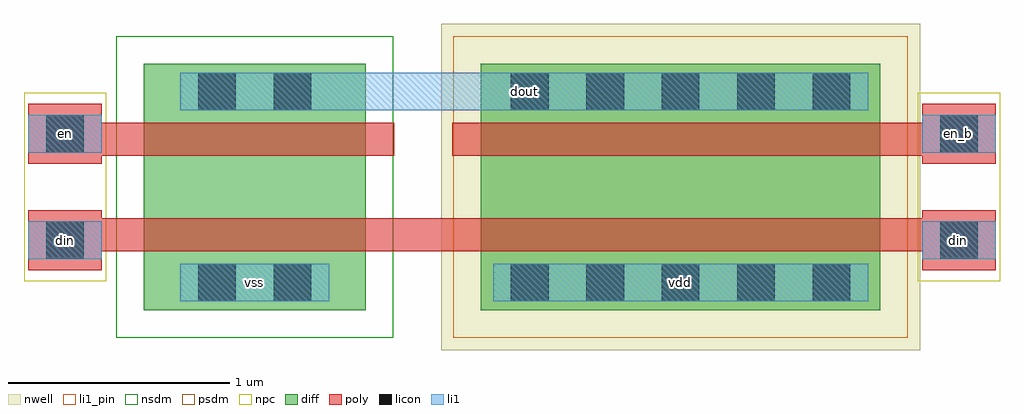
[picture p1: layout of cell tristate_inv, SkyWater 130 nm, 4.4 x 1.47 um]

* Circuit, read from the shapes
.subckt tristate_inv din dout en en_b vdd vss
XM1 n1 din vss VSUBS sky130_fd_pr__nfet_01v8 w=1 l=0.15
XM2 dout en n1 VSUBS sky130_fd_pr__nfet_01v8 w=1 l=0.15
XM3 n2 din vdd n3 sky130_fd_pr__pfet_01v8 w=1.8 l=0.15
XM4 dout en_b n2 n3 sky130_fd_pr__pfet_01v8 w=1.8 l=0.15
.ends

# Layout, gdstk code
from math import pi, radians
import gdstk
lib = gdstk.Library(unit=1e-6, precision=1e-09)
def R(c, l, rs):  # rectangles x0, y0, x1, y1
    for r in rs: c.add(gdstk.rectangle(r[:2], r[2:], *l))
def A(c, l, x, y, w, h, nx, ny, dx, dy):  # array of equal rectangles
    R(c, l, [(x+i*dx, y+j*dy, x+i*dx+w, y+j*dy+h) for i in range(nx) for j in range(ny)])
nwell = (64, 20)
diff = (65, 20)
poly = (66, 20)
licon = (66, 44)
li1_pin = (67, 16)
li1 = (67, 20)
nsdm = (93, 44)
psdm = (94, 20)
npc = (95, 20)

via = lib.new_cell('via')
R(via, poly, [(-0.165,-0.135,0.165,0.135)])
R(via, licon, [(-0.085,-0.085,0.085,0.085)])
R(via, li1, [(-0.165,-0.085,0.165,0.085)])
R(via, npc, [(-0.185,-0.185,0.185,0.185)])

via_1 = lib.new_cell('via_1')
R(via_1, diff, [(0.185,-0.125,0.815,0.125)])
R(via_1, licon, [(0.245,-0.085,0.415,0.085), (0.585,-0.085,0.755,0.085)])
R(via_1, li1, [(0.165,-0.085,0.835,0.085)])

mos_1 = lib.new_cell('mos_1')
R(mos_1, diff, [(0,0,1,1.11)])
R(mos_1, poly, [(-0.19,0.265,1.13,0.415), (-0.19,0.695,1.13,0.845)])
R(mos_1, li1_pin, [(0.165,0.04,0.835,0.21), (-0.52,0.23,-0.19,0.4), (-0.52,0.71,-0.19,0.88), (0.165,0.9,0.835,1.07)])
R(mos_1, li1, [(0.165,0.04,0.835,0.21), (-0.52,0.23,-0.19,0.4), (-0.52,0.71,-0.19,0.88), (0.165,0.9,0.835,1.07)])
R(mos_1, nsdm, [(-0.125,-0.125,1.125,1.235)])
R(mos_1, npc, [(-0.54,0.13,-0.17,0.98)])
mos_1.add(gdstk.Reference(via, (-0.355,0.315)))
mos_1.add(gdstk.Reference(via, (-0.355,0.795)))
mos_1.add(gdstk.Reference(via_1, (0,0.125)))
mos_1.add(gdstk.Reference(via_1, (0,0.985)))
mos_1.add(gdstk.Label('sd_0_2', (0.5,0.985), layer=67, texttype=5))
mos_1.add(gdstk.Label('gate_0', (-0.355,0.315), layer=67, texttype=5))
mos_1.add(gdstk.Label('gate_1', (-0.355,0.795), layer=67, texttype=5))
mos_1.add(gdstk.Label('sd_0_0', (0.5,0.125), layer=67, texttype=5))

via_2 = lib.new_cell('via_2')
R(via_2, diff, [(0.075,-0.125,1.725,0.125)])
A(via_2, licon, 0.135, -0.085, 0.17, 0.17, 5, 1, 0.34, 0)
R(via_2, li1, [(0.055,-0.085,1.745,0.085)])

mos_2 = lib.new_cell('mos_2')
R(mos_2, nwell, [(-0.18,-0.18,1.98,1.29)])
R(mos_2, diff, [(0,0,1.8,1.11)])
R(mos_2, poly, [(-0.19,0.265,1.93,0.415), (-0.19,0.695,1.93,0.845)])
R(mos_2, li1_pin, [(0.055,0.04,1.745,0.21), (-0.52,0.23,-0.19,0.4), (-0.52,0.71,-0.19,0.88), (0.055,0.9,1.745,1.07)])
R(mos_2, li1, [(0.055,0.04,1.745,0.21), (-0.52,0.23,-0.19,0.4), (-0.52,0.71,-0.19,0.88), (0.055,0.9,1.745,1.07)])
R(mos_2, psdm, [(-0.125,-0.125,1.925,1.235)])
R(mos_2, npc, [(-0.54,0.13,-0.17,0.98)])
mos_2.add(gdstk.Reference(via, (-0.355,0.315)))
mos_2.add(gdstk.Reference(via, (-0.355,0.795)))
mos_2.add(gdstk.Reference(via_2, (0,0.125)))
mos_2.add(gdstk.Reference(via_2, (0,0.985)))
mos_2.add(gdstk.Label('sd_0_2', (0.9,0.985), layer=67, texttype=5))
mos_2.add(gdstk.Label('gate_1', (-0.355,0.795), layer=67, texttype=5))
mos_2.add(gdstk.Label('gate_0', (-0.355,0.315), layer=67, texttype=5))
mos_2.add(gdstk.Label('sd_0_0', (0.9,0.125), layer=67, texttype=5))

tristate_inv = lib.new_cell('tristate_inv')
R(tristate_inv, poly, [(-0.52,0.18,-0.19,0.45), (3.51,0.18,3.84,0.45), (-0.19,0.265,3.51,0.415)])
R(tristate_inv, li1_pin, [(0.165,0.04,0.835,0.21), (1.575,0.04,3.265,0.21), (-0.52,0.23,-0.19,0.4), (3.51,0.23,3.84,0.4), (-0.52,0.71,-0.19,0.88), (3.51,0.71,3.84,0.88), (0.165,0.9,3.265,1.07)])
R(tristate_inv, li1, [(0.165,0.04,0.835,0.21), (1.575,0.04,3.265,0.21), (-0.52,0.23,-0.19,0.4), (3.51,0.23,3.84,0.4), (-0.52,0.71,-0.19,0.88), (3.51,0.71,3.84,0.88), (0.165,0.9,3.265,1.07), (0.165,0.9,3.265,1.07)])
tristate_inv.add(gdstk.Reference(mos_1, (0,0)))
tristate_inv.add(gdstk.Reference(mos_2, (3.32,0), rotation=pi, x_reflection=True))
tristate_inv.add(gdstk.Label('vss', (0.5,0.125), layer=67, texttype=5))
tristate_inv.add(gdstk.Label('vdd', (2.42,0.125), layer=67, texttype=5))
tristate_inv.add(gdstk.Label('en_b', (3.675,0.795), layer=67, texttype=5))
tristate_inv.add(gdstk.Label('en', (-0.355,0.795), layer=67, texttype=5))
tristate_inv.add(gdstk.Label('dout', (1.715,0.985), layer=67, texttype=5))
tristate_inv.add(gdstk.Label('din', (-0.355,0.315), layer=67, texttype=5))
tristate_inv.add(gdstk.Label('din', (3.675,0.315), layer=67, texttype=5))

lib.write_gds('tristate_inv.gds')
